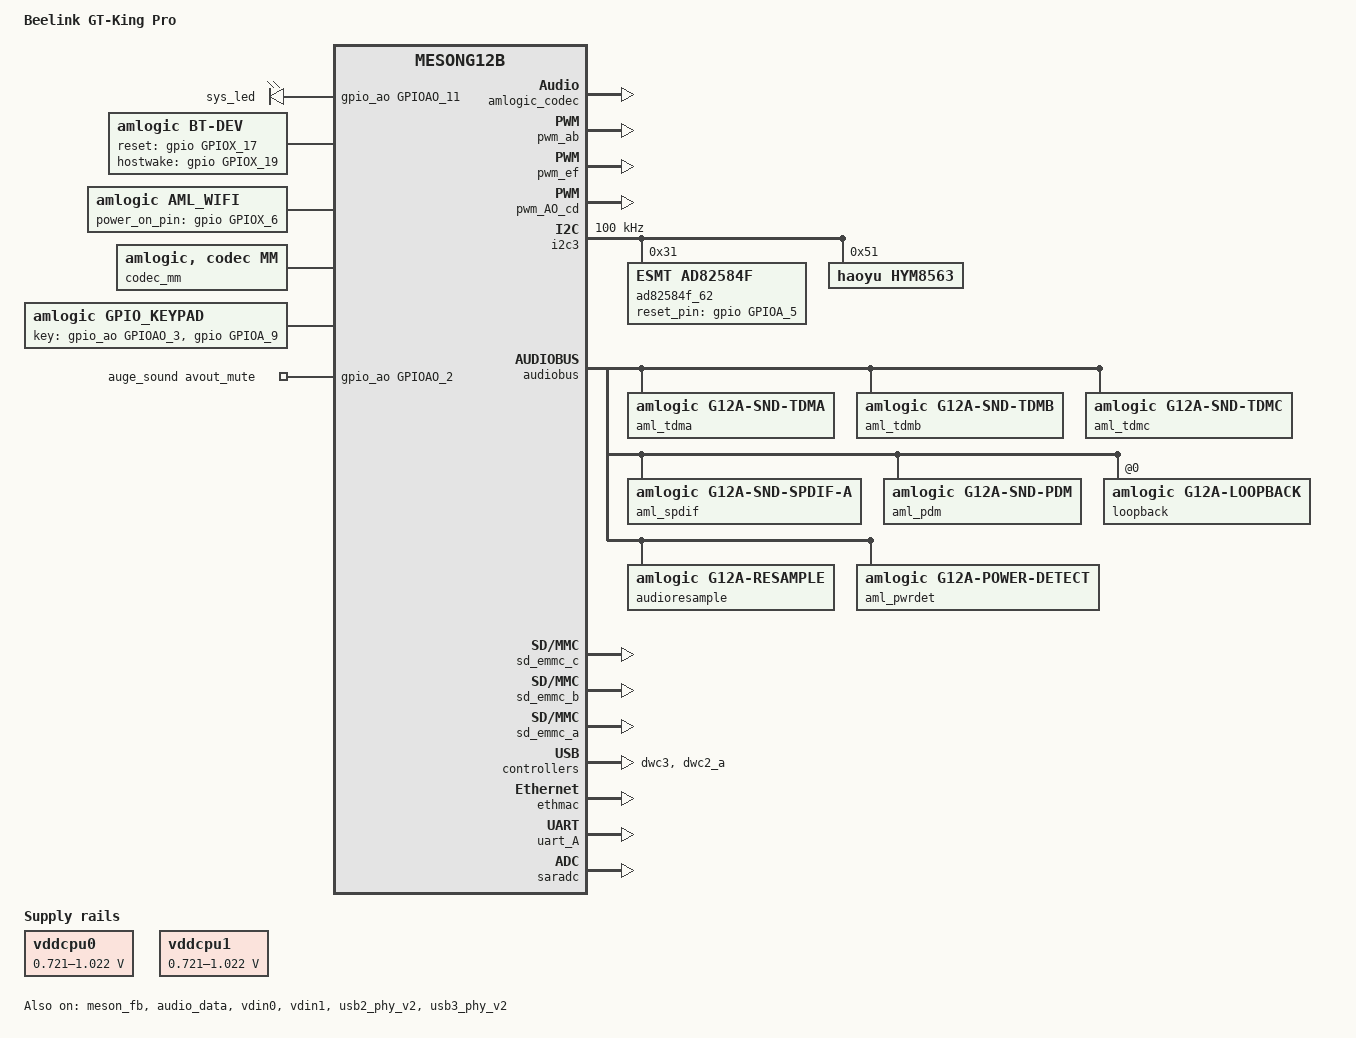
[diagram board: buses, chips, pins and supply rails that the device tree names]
/*
 * arch/arm64/boot/dts/amlogic/g12b_s922x_galilei.dts
 *
 * Beelink GT-King Pro ("galilei"): Amlogic S922X-H (G12B), 4 GB LPDDR4,
 * 64 GB eMMC, AP6398S (BCM4359C0) SDIO Wi-Fi + UART BT, RTL8211F RGMII
 * gigabit PHY, HYM8563 RTC on i2c3, IR receiver, white power LED.
 *
 * Based on g12b_a311d_w400.dts (Amlogic W400 reference board - the stock
 * Beelink firmware identifies itself as amlogic-dt-id "g12b_w400_b").
 * Board-specific values were taken from the stock DTB (kernel 4.9.113,
 * Beelink 20220401 firmware) and cross-checked with mainline
 * meson-g12b-gtking-pro.dts.
 *
 * Copyright (C) 2017 Amlogic, Inc. All rights reserved.
 *
 * This program is free software; you can redistribute it and/or modify
 * it under the terms of the GNU General Public License as published by
 * the Free Software Foundation; either version 2 of the License, or
 * (at your option) any later version.
 *
 * This program is distributed in the hope that it will be useful, but WITHOUT
 * ANY WARRANTY; without even the implied warranty of MERCHANTABILITY or
 * FITNESS FOR A PARTICULAR PURPOSE.  See the GNU General Public License for
 * more details.
 *
 */

/dts-v1/;

#include "partition_mbox_dynamic_galilei.dtsi"
#include "mesong12b.dtsi"
#include "mesong12b_skt-panel.dtsi"
#include <dt-bindings/thermal/thermal.h>

/ {
	model = "Beelink GT-King Pro";
	amlogic-dt-id = "g12b_s922x_galilei";
	compatible = "amlogic, g12b";
	interrupt-parent = <&gic>;
	#address-cells = <2>;
	#size-cells = <2>;

	aliases {
		serial0 = &uart_AO;
		serial1 = &uart_A;
		serial2 = &uart_B;
		serial3 = &uart_C;
		serial4 = &uart_AO_B;
		i2c0 = &i2c0;
		i2c1 = &i2c1;
		i2c2 = &i2c2;
		i2c3 = &i2c3;
		i2c4 = &i2c_AO;
		tsensor0 = &p_tsensor;
		tsensor1 = &d_tsensor;
	};

	memory@00000000 {
		device_type = "memory";
		/* 4 GB LPDDR4; u-boot fixes this up from the DDR size at boot.
		 * Value below is what the stock u-boot passes on this board. */
		linux,usable-memory = <0x0 0x000000 0x0 0xf0800000>;
	};

	reserved-memory {
		#address-cells = <2>;
		#size-cells = <2>;
		ranges;
		/* global autoconfigured region for contiguous allocations */
		ramoops@0x07400000 {
			compatible = "ramoops";
			reg = <0x0 0x07400000 0x0 0x00100000>;
			record-size = <0x20000>;
			console-size = <0x40000>;
			ftrace-size = <0x80000>;
			pmsg-size = <0x20000>;
		};

		/* stock firmware reserves 36 MB for secmon (BL31/BL32) */
		secmon_reserved:linux,secmon {
			compatible = "shared-dma-pool";
			reusable;
			size = <0x0 0x2400000>;
			alignment = <0x0 0x400000>;
			alloc-ranges = <0x0 0x05000000 0x0 0x2400000>;
			clear-map;
		};

		secos_reserved:linux,secos {
			status = "disable";
			compatible = "amlogic, aml_secos_memory";
			reg = <0x0 0x05300000 0x0 0x2000000>;
			no-map;
		};
		logo_reserved:linux,meson-fb {
			compatible = "shared-dma-pool";
			reusable;
			size = <0x0 0x800000>;
			alignment = <0x0 0x400000>;
			alloc-ranges = <0x0 0x7f800000 0x0 0x800000>;
		};
		ion_cma_reserved:linux,ion-dev {
			compatible = "shared-dma-pool";
			reusable;
			size = <0x0 0x8000000>;
			alignment = <0x0 0x400000>;
		};
		ion_fb_reserved:linux,ion-fb {
			compatible = "amlogic, ion-fb-mem";
			reusable;
			/* 1920x1080x6x3 round up 4M align */
			size = <0x0 0x3400000>;
			alignment = <0x0 0x400000>;
		};

		/*di CMA pool */
		di_cma_reserved:linux,di_cma {
			compatible = "shared-dma-pool";
			status = "disable";
			reusable;
			/* buffer_size = 3621952(yuv422 8bit)
			 *  | 4736064(yuv422 10bit)
			 *  | 4074560(yuv422 10bit full pack mode)
			 * 10x3621952=34.6M(0x23) support 8bit
			 * 10x4736064=45.2M(0x2e) support 12bit
			 * 10x4074560=40M(0x28) support 10bit
			 */
			//size = <0x0 0x02800000>;
			size = <0x0 0x0>;
			alignment = <0x0 0x400000>;
		};
		/*  POST PROCESS MANAGER */
		ppmgr_reserved:linux,ppmgr {
			compatible = "shared-dma-pool";
			size = <0x0 0x0>;
		};

		codec_mm_cma:linux,codec_mm_cma {
			compatible = "shared-dma-pool";
			reusable;
			/* ion_codec_mm max can alloc size 80M*/
			size = <0x0 0x13400000>;
			alignment = <0x0 0x400000>;
			linux,contiguous-region;
			clear-map;
		};
		/* codec shared reserved */
		codec_mm_reserved:linux,codec_mm_reserved {
			compatible = "amlogic, codec-mm-reserved";
			size = <0x0 0x0>;
			alignment = <0x0 0x100000>;
			//no-map;
		};
		/*  vdin1 CMA pool */
		vdin1_cma_reserved:linux,vdin1_cma {
			compatible = "shared-dma-pool";
			reusable;
			/* up to 1920x1080 yuv422 8bit and 5 buffers
			 * 1920x1080x2x5 = 20 M
			 */
			size = <0x0 0x01400000>;
			alignment = <0x0 0x400000>;
		};
	};

	cma_shrinker {
		compatible = "amlogic, cma-shrinker";
		status = "disabled";
		adj  = <0 100 200 250 900 950>;
		free = <8192 12288 16384 24576 28672 32768>;
	};

	/* S922X has no NPU (galcore) and no ISP; both are A311D/W400 only */
	galcore {
		status = "disabled";
	};

	gpioleds {
		compatible = "gpio-leds";
		status = "okay";
		/* white power LED on the front panel */
		sys_led {
			label="sys_led";
			gpios=<&gpio_ao GPIOAO_11 GPIO_ACTIVE_HIGH>;
			default-state ="on";
		};
	};

	cvbsout {
		compatible = "amlogic, cvbsout-g12b";
		dev_name = "cvbsout";
		status = "okay";
		clocks = <&clkc CLKID_VCLK2_ENCI
			&clkc CLKID_VCLK2_VENCI0
			&clkc CLKID_VCLK2_VENCI1
			&clkc CLKID_DAC_CLK>;
		clock-names = "venci_top_gate",
			"venci_0_gate",
			"venci_1_gate",
			"vdac_clk_gate";
		/* clk path */
		/* 0:vid_pll vid2_clk */
		/* 1:gp0_pll vid2_clk */
		/* 2:vid_pll vid1_clk */
		/* 3:gp0_pll vid1_clk */
		clk_path = <0>;

		/* performance: reg_address, reg_value */
		/* g12b */
		performance = <0x1bf0  0x9
			0x1b56  0x333
			0x1b12  0x8080
			0x1b05  0xfd
			0x1c59  0xf850
			0xffff  0x0>; /* ending flag */
		performance_sarft = <0x1bf0  0x9
			0x1b56  0x333
			0x1b12  0x0
			0x1b05  0x9
			0x1c59  0xfc48
			0xffff  0x0>; /* ending flag */
	};

	/* AP6398S Bluetooth (UART_A) */
	bt-dev{
		compatible = "amlogic, bt-dev";
		dev_name = "bt-dev";
		status = "okay";
		gpio_reset = <&gpio GPIOX_17 GPIO_ACTIVE_HIGH>;
		gpio_hostwake = <&gpio GPIOX_19 GPIO_ACTIVE_HIGH>;
	};

	/* AP6398S Wi-Fi (SDIO on sd_emmc_a) */
	wifi{
		compatible = "amlogic, aml_wifi";
		dev_name = "aml_wifi";
		status = "okay";
		interrupt_pin = <&gpio GPIOX_7 GPIO_ACTIVE_HIGH>;
		irq_trigger_type = "GPIO_IRQ_LOW";
		power_on_pin = <&gpio GPIOX_6 GPIO_ACTIVE_HIGH>;
		dhd_static_buf;	//if use bcm wifi, config dhd_static_buf
		pinctrl-names = "default";
		pinctrl-0 = <&pwm_e_pins>;
		pwm_config = <&wifi_pwm_conf>;
	};

	wifi_pwm_conf:wifi_pwm_conf{
		pwm_channel1_conf {
			pwms = <&pwm_ef MESON_PWM_0 30541 0>;
			duty-cycle = <15270>;
			times = <10>;
		};
		pwm_channel2_conf {
			pwms = <&pwm_ef MESON_PWM_2 30500 0>;
			duty-cycle = <15250>;
			times = <12>;
		};
	};

	picdec_cma_reserved:linux,picdec {
		compatible = "shared-dma-pool";
		reusable;
		size = <0x0>;
		alignment = <0x0>;
		linux,contiguous-region;
	};

	codec_mm {
		compatible = "amlogic, codec, mm";
		memory-region = <&codec_mm_cma &codec_mm_reserved>;
		dev_name = "codec_mm";
		status = "okay";
	};

	picdec {
		compatible = "amlogic, picdec";
		memory-region = <&picdec_cma_reserved>;
		dev_name = "picdec";
		status = "okay";
	};

	ppmgr {
		compatible = "amlogic, ppmgr";
		memory-region = <&ppmgr_reserved>;
		dev_name = "ppmgr";
		status = "okay";
	};

	multi-di {
		compatible = "amlogic, dim-g12b";
		status = "okay";
		/* 0:use reserved; 1:use cma; 2:use cma as reserved */
		/* 3:codec_a; 4:codec_b (di buffers come from codec_mm) */
		flag_cma = <4>;	//<1>;
		//memory-region = <&di_reserved>;
		memory-region = <&di_cma_reserved>;
		interrupts = <0 46 1
				0 40 1>;
		interrupt-names = "pre_irq", "post_irq";
		clocks = <&clkc CLKID_VPU_CLKB_TMP_COMP>,
			<&clkc CLKID_VPU_CLKB_COMP>;
		clock-names = "vpu_clkb_tmp_composite",
			"vpu_clkb_composite";
		clock-range = <334 667>;
		/* buffer-size = <3621952>;(yuv422 8bit) */
		buffer-size = <4074560>;/*yuv422 fullpack*/
		/* reserve-iomap = "true"; */
		/* if enable nr10bit, set nr10bit-support to 1 */
		post-wr-support = <1>;
		nr10bit-support = <1>;
		nrds-enable = <1>;
		pps-enable = <1>;
	};
	deinterlace {
		compatible = "amlogic, deinterlace";
		status = "disable";//status = "okay";
		/* 0:use reserved; 1:use cma; 2:use cma as reserved */
		flag_cma = <1>;
		//memory-region = <&di_reserved>;
		memory-region = <&di_cma_reserved>;
		interrupts = <0 46 1
				0 40 1>;
		interrupt-names = "pre_irq", "post_irq";
		clocks = <&clkc CLKID_VPU_CLKB_TMP_COMP>,
			<&clkc CLKID_VPU_CLKB_COMP>;
		clock-names = "vpu_clkb_tmp_composite",
			"vpu_clkb_composite";
		clock-range = <334 667>;
		/* buffer-size = <3621952>;(yuv422 8bit) */
		buffer-size = <4074560>;/*yuv422 fullpack*/
		/* reserve-iomap = "true"; */
		/* if enable nr10bit, set nr10bit-support to 1 */
		post-wr-support = <1>;
		nr10bit-support = <1>;
		nrds-enable = <1>;
		pps-enable = <1>;
	};
	ionvideo {
		compatible = "amlogic, ionvideo";
		dev_name = "ionvideo";
		status = "okay";
	};

	amlvideo2_0 {
		compatible = "amlogic, amlvideo2";
		dev_name = "amlvideo2";
		status = "okay";
		amlvideo2_id = <0>;
		cma_mode = <1>;
	};

	amlvideo2_1 {
		compatible = "amlogic, amlvideo2";
		dev_name = "amlvideo2";
		status = "okay";
		amlvideo2_id = <1>;
		cma_mode = <1>;
	};

	/* front panel power button (GPIOAO_3) and the audio-mode switch
	 * button (GPIOA_9), both as in the stock firmware */
	gpio_keypad {
		compatible = "amlogic, gpio_keypad";
		status = "okay";
		scan_period = <20>;
		key_num = <2>;
		key_name = "power", "switch_audio";
		key_code = <116 319>;
		key-gpios = <&gpio_ao GPIOAO_3 GPIO_ACTIVE_HIGH
			     &gpio GPIOA_9 GPIO_ACTIVE_HIGH>;
		detect_mode = <0>;/*0:polling mode, 1:irq mode*/
	};

	/* no ADC keys on this box (W400 reference board leftover) */
	adc_keypad {
		compatible = "amlogic, adc_keypad";
		status = "disabled";
		key_name = "vol-", "vol+", "enter";
		key_num = <3>;
		io-channels = <&saradc SARADC_CH2>;
		io-channel-names = "key-chan-2";
		key_chan = <SARADC_CH2 SARADC_CH2 SARADC_CH2>;
		key_code = <114 115 28>;
		key_val = <143 266 389>; //val=voltage/1800mV*1023
		key_tolerance = <40 40 40>;
	};

	unifykey{
		compatible = "amlogic, unifykey";
		status = "ok";
		unifykey-num = <17>;
		unifykey-index-0 = <&keysn_0>;
		unifykey-index-1 = <&keysn_1>;
		unifykey-index-2 = <&keysn_2>;
		unifykey-index-3 = <&keysn_3>;
		unifykey-index-4 = <&keysn_4>;
		unifykey-index-5 = <&keysn_5>;
		unifykey-index-6 = <&keysn_6>;
		unifykey-index-7 = <&keysn_7>;
		unifykey-index-8 = <&keysn_8>;
		unifykey-index-9 = <&keysn_9>;
		unifykey-index-10= <&keysn_10>;
		unifykey-index-11= <&keysn_11>;
		unifykey-index-12= <&keysn_12>;
		unifykey-index-13= <&keysn_13>;
		unifykey-index-14= <&keysn_14>;
		unifykey-index-15= <&keysn_15>;
		unifykey-index-16= <&keysn_16>;

		keysn_0: key_0{
			key-name = "usid";
			key-device = "normal";
			key-permit = "read","write","del";
		};
		keysn_1:key_1{
			key-name = "mac";
			key-device = "normal";
			key-permit = "read","write","del";
		};
		keysn_2:key_2{
			key-name = "hdcp";
			key-device = "secure";
			key-type = "sha1";
			key-permit = "read","write","del";
		};
		keysn_3:key_3{
			key-name = "secure_boot_set";
			key-device = "efuse";
			key-permit = "write";
		};
		keysn_4:key_4{
			key-name = "mac_bt";
			key-device = "normal";
			key-permit = "read","write","del";
			key-type  = "mac";
		};
		keysn_5:key_5{
			key-name = "mac_wifi";
			key-device = "normal";
			key-permit = "read","write","del";
			key-type = "mac";
		};
		keysn_6:key_6{
			key-name = "hdcp2_tx";
			key-device = "normal";
			key-permit = "read","write","del";
		};
		keysn_7:key_7{
			key-name = "hdcp2_rx";
			key-device = "normal";
			key-permit = "read","write","del";
		};
		keysn_8:key_8{
			key-name = "widevinekeybox";
			key-device = "secure";
			key-permit = "read","write","del";
		};
		keysn_9:key_9{
			key-name = "deviceid";
			key-device = "normal";
			key-permit = "read","write","del";
		};
		keysn_10:key_10{
			key-name = "hdcp22_fw_private";
			key-device = "secure";
			key-permit = "read","write","del";
		};
		keysn_11:key_11{
			key-name = "PlayReadykeybox25";
			key-device = "secure";
			key-permit = "read","write","del";
		};
		keysn_12:key_12{
			key-name = "prpubkeybox";// PlayReady
			key-device = "secure";
			key-permit = "read","write","del";
		};
		keysn_13:key_13{
			key-name = "prprivkeybox";// PlayReady
			key-device = "secure";
			key-permit = "read","write","del";
		};
		keysn_14:key_14{
			key-name = "attestationkeybox";// attestation key
			key-device = "secure";
			key-permit = "read","write","del";
		};
		keysn_15:key_15{
			key-name = "netflix_mgkid";
			key-device = "secure";
			key-permit = "read","write","del";
		};
		keysn_16:key_16{
			key-name = "attestationdevidbox";// attest dev id box
			key-device = "secure";
			key-permit = "read","write","del";
		};
	};//End unifykey

	efusekey:efusekey{
		keynum = <4>;
		key0 = <&key_0>;
		key1 = <&key_1>;
		key2 = <&key_2>;
		key3 = <&key_3>;
		key_0:key_0{
			keyname = "mac";
			offset = <0>;
			size = <6>;
		};
		key_1:key_1{
			keyname = "mac_bt";
			offset = <6>;
			size = <6>;
		};
		key_2:key_2{
			keyname = "mac_wifi";
			offset = <12>;
			size = <6>;
		};
		key_3:key_3{
			keyname = "usid";
			offset = <18>;
			size = <16>;
		};
	};//End efusekey

	amlvecm {
		compatible = "amlogic, vecm";
		dev_name = "aml_vecm";
		status = "okay";
		gamma_en = <0>;/*1:enabel ;0:disable*/
		wb_en = <0>;/*1:enabel ;0:disable*/
		cm_en = <0>;/*1:enabel ;0:disable*/

		interrupts = <0 56 1>;
		interrupt-names = "vsync2";
	};
	amdolby_vision {
		compatible = "amlogic, dolby_vision_g12a";
		dev_name = "aml_amdolby_vision_driver";
		status = "okay";
		tv_mode = <0>;/*1:enabel ;0:disable*/
	};

	/* Audio Related start */
	pdm_codec:dummy{
		#sound-dai-cells = <0>;
		compatible = "amlogic, pdm_dummy_codec";
		status = "okay";
	};
	dummy_codec:dummy{
		#sound-dai-cells = <0>;
		compatible = "amlogic, aml_dummy_codec";
		status = "okay";
	};
	amlogic_codec:t9015{
		#sound-dai-cells = <0>;
		compatible = "amlogic, aml_codec_T9015";
		reg = <0x0 0xFF632000 0x0 0x2000>;
		is_auge_used = <1>; /* meson or auge chipset used */
		tdmout_index = <1>;
		status = "okay";
	};
	audio_effect:eqdrc{
		/*eq_enable = <1>;*/
		/*drc_enable = <1>;*/
		/*
		 * 0:tdmout_a
		 * 1:tdmout_b
		 * 2:tdmout_c
		 * 3:spdifout
		 * 4:spdifout_b
		 */
		eqdrc_module = <1>;
		/* max 0xf, each bit for one lane, usually one lane */
		lane_mask = <0x1>;
		/* max 0xff, each bit for one channel */
		channel_mask = <0x3>;
	};
	auge_sound {
		compatible = "amlogic, g12a-sound-card";
		aml-audio-card,name = "AML-AUGESOUND";


		//aml-audio-card,aux-devs = <&amlogic_codec>;
		/*avout mute gpio*/
		avout_mute-gpios = <&gpio_ao GPIOAO_2 GPIO_ACTIVE_HIGH>;
		/*for audio effect ,eqdrc */
		aml-audio-card,effect = <&audio_effect>;

		aml-audio-card,dai-link@0 {
			format = "dsp_a";
			mclk-fs = <512>;
			//continuous-clock;
			//bitclock-inversion;
			//frame-inversion;
			//bitclock-master = <&tdmacodec>;
			//frame-master = <&tdmacodec>;
			/* suffix-name, sync with android audio hal
			 * what's the dai link used for
			 */
			suffix-name = "alsaPORT-pcm";
			tdmacpu: cpu {
				sound-dai = <&aml_tdma>;
				dai-tdm-slot-tx-mask =
							<1 0 0 0 0 0 0 0>;
				dai-tdm-slot-rx-mask =
							<1 0 0 0 0 0 0 0>;
				dai-tdm-slot-num = <8>;
				dai-tdm-slot-width = <32>;
				system-clock-frequency = <24576000>;
			};
			tdmacodec: codec {
				sound-dai = <&pdm_codec &dummy_codec>;
			};
		};

		/* I2S -> HDMI (tdmout_b) */
		aml-audio-card,dai-link@1 {
			format = "i2s";
			mclk-fs = <256>;
			//continuous-clock;
			//bitclock-inversion;
			//frame-inversion;
			bitclock-master = <&aml_tdmb>;
			frame-master = <&aml_tdmb>;
			//bitclock-master = <&tdmbcodec>;
			//frame-master = <&tdmbcodec>;
			/* suffix-name, sync with android audio hal
			 * what's the dai link used for
			 */
			suffix-name = "alsaPORT-i2s";
			cpu {
				sound-dai = <&aml_tdmb>;
				dai-tdm-slot-tx-mask = <1 1>;
				dai-tdm-slot-rx-mask = <1 1>;
				dai-tdm-slot-num = <2>;
				dai-tdm-slot-width = <32>;
				system-clock-frequency = <12288000>;
			};
			tdmbcodec: codec {
				sound-dai = <&pdm_codec &dummy_codec
				&amlogic_codec &ad82584f_62>;
			};
		};

		aml-audio-card,dai-link@2 {
			format = "i2s";
			mclk-fs = <256>;
			//continuous-clock;
			//bitclock-inversion;
			//frame-inversion;
			bitclock-master = <&aml_tdmc>;
			frame-master = <&aml_tdmc>;
			/* suffix-name, sync with android audio hal
			 * what's the dai link used for
			 */
			//suffix-name = "alsaPORT-tdm";
			cpu {
				sound-dai = <&aml_tdmc>;
				dai-tdm-slot-tx-mask = <1 1>;
				dai-tdm-slot-rx-mask = <1 1>;
				dai-tdm-slot-num = <2>;
				dai-tdm-slot-width = <32>;
				system-clock-frequency = <12288000>;
			};
			codec {
				sound-dai = <&pdm_codec &dummy_codec>;
			};
		};

		aml-audio-card,dai-link@3 {
			mclk-fs = <64>;
			/* suffix-name, sync with android audio hal
			 * what's the dai link used for
			 */
			suffix-name = "alsaPORT-pdm";
			cpu {
				sound-dai = <&aml_pdm>;
			};
			codec {
				sound-dai = <&pdm_codec>;
			};
		};

		/* optical S/PDIF output */
		aml-audio-card,dai-link@4 {
			mclk-fs = <128>;
			continuous-clock;
			/* suffix-name, sync with android audio hal
			 * what's the dai link used for
			 */
			suffix-name = "alsaPORT-spdif";
			cpu {
				sound-dai = <&aml_spdif>;
				system-clock-frequency = <6144000>;
			};
			codec {
				sound-dai = <&dummy_codec>;
			};
		};

		aml-audio-card,dai-link@6 {
			mclk-fs = <256>;
			continuous-clock;
			suffix-name = "alsaPORT-loopback";
			cpu {
				sound-dai = <&loopback>;
				system-clock-frequency = <12288000>;
			};
			codec {
				sound-dai = <&dummy_codec>;
			};
		};
	};
	audiolocker: locker {
		compatible = "amlogic, audiolocker";
		clocks = <&clkaudio CLKID_AUDIO_LOCKER_OUT
				&clkaudio CLKID_AUDIO_LOCKER_IN
				&clkaudio CLKID_AUDIO_MCLK_D
				&clkaudio CLKID_AUDIO_MCLK_E
				&clkc CLKID_MPLL1
				&clkc CLKID_MPLL2>;
		clock-names = "lock_out", "lock_in", "out_src",
					"in_src", "out_calc", "in_ref";
		interrupts = <GIC_SPI 1 IRQ_TYPE_EDGE_RISING>;
		interrupt-names = "irq";
		frequency = <49000000>; /* pll */
		dividor = <49>; /* locker's parent */
		status = "okay";
	};
	/* Audio Related end */

	/* S922X-H operating points, copied from the stock Beelink DTB.
	 * table0 = 2x Cortex-A53 (up to 1.8 GHz), table1 = 4x Cortex-A73
	 * (up to 2.208 GHz). */
	cpu_opp_table0: cpu_opp_table0 {
		compatible = "operating-points-v2";
		opp-shared;

		opp00 {
			opp-hz = /bits/ 64 <500000000>;
			opp-microvolt = <731000>;
		};
		opp01 {
			opp-hz = /bits/ 64 <667000000>;
			opp-microvolt = <731000>;
		};
		opp02 {
			opp-hz = /bits/ 64 <1000000000>;
			opp-microvolt = <761000>;
		};
		opp03 {
			opp-hz = /bits/ 64 <1200000000>;
			opp-microvolt = <781000>;
		};
		opp04 {
			opp-hz = /bits/ 64 <1398000000>;
			opp-microvolt = <811000>;
		};
		opp05 {
			opp-hz = /bits/ 64 <1512000000>;
			opp-microvolt = <861000>;
		};
		opp06 {
			opp-hz = /bits/ 64 <1608000000>;
			opp-microvolt = <901000>;
		};
		opp07 {
			opp-hz = /bits/ 64 <1704000000>;
			opp-microvolt = <951000>;
		};
		opp08 {
			opp-hz = /bits/ 64 <1800000000>;
			opp-microvolt = <1001000>;
		};
	};

	cpu_opp_table1: cpu_opp_table1 {
		compatible = "operating-points-v2";
		opp-shared;

		opp00 {
			opp-hz = /bits/ 64 <500000000>;
			opp-microvolt = <731000>;
		};
		opp01 {
			opp-hz = /bits/ 64 <667000000>;
			opp-microvolt = <731000>;
		};
		opp02 {
			opp-hz = /bits/ 64 <1000000000>;
			opp-microvolt = <731000>;
		};
		opp03 {
			opp-hz = /bits/ 64 <1200000000>;
			opp-microvolt = <751000>;
		};
		opp04 {
			opp-hz = /bits/ 64 <1398000000>;
			opp-microvolt = <771000>;
		};
		opp05 {
			opp-hz = /bits/ 64 <1512000000>;
			opp-microvolt = <771000>;
		};
		opp06 {
			opp-hz = /bits/ 64 <1608000000>;
			opp-microvolt = <781000>;
		};
		opp07 {
			opp-hz = /bits/ 64 <1704000000>;
			opp-microvolt = <791000>;
		};
		opp08 {
			opp-hz = /bits/ 64 <1800000000>;
			opp-microvolt = <831000>;
		};
		opp09 {
			opp-hz = /bits/ 64 <1908000000>;
			opp-microvolt = <861000>;
		};
		opp10 {
			opp-hz = /bits/ 64 <2016000000>;
			opp-microvolt = <911000>;
		};
		opp11 {
			opp-hz = /bits/ 64 <2100000000>;
			opp-microvolt = <951000>;
		};
		opp12 {
			opp-hz = /bits/ 64 <2208000000>;
			opp-microvolt = <1011000>;
		};
	};

	cpufreq-meson {
		compatible = "amlogic, cpufreq-meson";
		status = "okay";
	};
}; /* end of / */

/* no camera / ISP on this box */
&i2c2 {
	status = "disabled";
};

&isp {
	status = "disabled";
};

&adapter {
	status = "disabled";
};

&meson_fb {
	status = "okay";
	display_mode_default = "1080p60hz";
	scale_mode = <1>;
	display_size_default = <1920 1080 1920 2160 32>; /* 1080p double buffer */
	mem_size = <0x00800000 0x1980000 0x100000 0x100000 0x800000>;
	logo_addr = "0x7f800000";
	mem_alloc = <0>;
	pxp_mode = <0>; /** 0:normal mode 1:pxp mode */
};

&pwm_ab {
		status = "okay";
};

&pwm_ef {
		status = "okay";
};

/* PWM_AO_A drives the fan on the W400 reference board; no fan here */
&pwm_AO_ab {
		status = "disabled";
};

&pwm_AO_cd {
		status = "okay";
};

&i2c0 {
	status = "disabled";
};

&i2c3 {
	status = "okay";
	pinctrl-names="default";
	pinctrl-0=<&i2c3_master_pins2>;
	clock-frequency = <100000>; /* default 100k */

	/* present in the stock DTB (W400 reference audio amplifier);
	 * kept so the auge sound card codec list matches stock */
	ad82584f_62: ad82584f_62@62 {
		compatible = "ESMT, ad82584f";
		#sound-dai-cells = <0>;
		reg = <0x31>;
		status = "okay";
		reset_pin = <&gpio GPIOA_5 0>;
		no_mclk;
	};

	/* real time clock (battery backed) */
	hym8563: hym8563@51 {
		compatible = "haoyu,hym8563";
		reg = <0x51>;
		#clock-cells = <0>;
		status = "okay";
	};
};

&audiobus {
	aml_tdma: tdma {
		status = "okay";
		compatible = "amlogic, g12a-snd-tdma";
		#sound-dai-cells = <0>;
		dai-tdm-lane-slot-mask-in = <0 1>;
		dai-tdm-lane-oe-slot-mask-out = <1 0>;
		dai-tdm-clk-sel = <0>;
		clocks = <&clkaudio CLKID_AUDIO_MCLK_A
				&clkc CLKID_MPLL0>;
		clock-names = "mclk", "clk_srcpll";
		pinctrl-names = "tdm_pins";
		pinctrl-0 = <&tdmout_a &tdmin_a>;
	};

	aml_tdmb: tdmb {
		status = "okay";
		compatible = "amlogic, g12a-snd-tdmb";
		#sound-dai-cells = <0>;
		dai-tdm-lane-slot-mask-in = <0 1 0 0>;
		dai-tdm-lane-slot-mask-out = <1 0 0 0>;
		dai-tdm-clk-sel = <1>;
		clocks = <&clkaudio CLKID_AUDIO_MCLK_B
				&clkc CLKID_MPLL1
				&clkc CLKID_MPLL0
				&clkaudio CLKID_AUDIO_SPDIFOUT_CTRL>;
		clock-names = "mclk", "clk_srcpll",
			"samesource_srcpll", "samesource_clk";
		pinctrl-names = "tdm_pins";
		pinctrl-0 = <&tdmb_mclk &tdmout_b &tdmin_b>;
		mclk_pad = <0>;  /* 0: mclk_0; 1: mclk_1 */
		/*
		 * 0: tdmout_a;
		 * 1: tdmout_b;
		 * 2: tdmout_c;
		 * 3: spdifout;
		 * 4: spdifout_b;
		 */
		samesource_sel = <3>;
	};

	aml_tdmc: tdmc {
		status = "okay";	/* 2026-09-24: the LOS aml_card driver needs every dai-link CPU DAI registered
					 * (dai-link@2 = tdmc), a disabled tdmc = "error getting cpu dai name" = no sound card at all.
					 * TDM C pads are unused on the GT-King (stock keeps tdmc disabled): no pinctrl here. */
		compatible = "amlogic, g12a-snd-tdmc";
		#sound-dai-cells = <0>;
		dai-tdm-lane-slot-mask-in = <1 0 0 0>;
		#dai-tdm-lane-slot-mask-out = <1 0 1 1>;
		#dai-tdm-lane-oe-slot-mask-in = <0 0 0 0>;
		#dai-tdm-lane-oe-slot-mask-out = <1 0 0 0>;
		dai-tdm-clk-sel = <2>;
		clocks = <&clkaudio CLKID_AUDIO_MCLK_C
				&clkc CLKID_MPLL2>;
		clock-names = "mclk", "clk_srcpll";
		/* no pinctrl: DAI only, pads free */
		mclk_pad = <1>;  /* 0: mclk_0; 1: mclk_1 */
	};

	tdmlb: tdm@3 {
		compatible = "amlogic, g12a-snd-tdmlb";
		#sound-dai-cells = <0>;
		dai-tdm-lane-lb-slot-mask-in = <1 0 0 0>;
		dai-tdm-clk-sel = <1>;
		clocks = <&clkaudio CLKID_AUDIO_MCLK_B
				&clkc CLKID_MPLL1>;
		clock-names = "mclk", "clk_srcpll";
		/*
		 * select tdmin_lb src;
		 *0: TDMOUTA
		 *1: TDMOUTB
		 *2: TDMOUTC
		 *3: PAD_TDMINA
		 *4: PAD_TDMINB
		 *5: PAD_TDMINC
		 */
		lb-src-sel = <1>;

		status = "disabled";	/* as stock; its pin lookup fails on this board (aml_tdm_get_pins error) */
	};

	/* optical S/PDIF out on GPIOAO_10 (enabled in the stock DTB) */
	aml_spdif: spdif {
		compatible = "amlogic, g12a-snd-spdif-a";
		#sound-dai-cells = <0>;
		clocks = <&clkc CLKID_MPLL0
				&clkc CLKID_FCLK_DIV4
				&clkaudio CLKID_AUDIO_SPDIFIN
				&clkaudio CLKID_AUDIO_SPDIFOUT
				&clkaudio CLKID_AUDIO_SPDIFIN_CTRL
				&clkaudio CLKID_AUDIO_SPDIFOUT_CTRL>;
		clock-names = "sysclk", "fixed_clk", "gate_spdifin",
				"gate_spdifout", "clk_spdifin", "clk_spdifout";
		interrupts =
				<GIC_SPI 151 IRQ_TYPE_EDGE_RISING>;

		interrupt-names = "irq_spdifin";
		pinctrl-names = "spdif_pins",
					"spdif_pins_mute";
		pinctrl-0 = <&spdifout &spdifin>;
		pinctrl-1 = <&spdifout_a_mute>;
		status = "okay";
	};
	aml_spdif_b: spdif_b {
		compatible = "amlogic, g12a-snd-spdif-b";
		#sound-dai-cells = <0>;
		clocks = <&clkc CLKID_MPLL0 /*CLKID_HIFI_PLL*/
				&clkaudio CLKID_AUDIO_SPDIFOUTB
				&clkaudio CLKID_AUDIO_SPDIFOUTB_CTRL>;
		clock-names = "sysclk",
				"gate_spdifout", "clk_spdifout";
		status = "disabled";
	};
	aml_pdm: pdm {
		compatible = "amlogic, g12a-snd-pdm";
		#sound-dai-cells = <0>;
		clocks = <&clkaudio CLKID_AUDIO_PDM
			&clkc CLKID_FCLK_DIV3
			&clkc CLKID_MPLL3
			&clkaudio CLKID_AUDIO_PDMIN0
			&clkaudio CLKID_AUDIO_PDMIN1>;
		clock-names = "gate",
			"sysclk_srcpll",
			"dclk_srcpll",
			"pdm_dclk",
			"pdm_sysclk";
		pinctrl-names = "pdm_pins";
		pinctrl-0 = <&pdmin>;
		filter_mode = <1>; /* mode 0~4, defalut:1 */
		status = "okay";
	};

	loopback:loopback@0 {
		compatible = "amlogic, g12a-loopback";
		#sound-dai-cells = <0>;

		clocks = <&clkaudio CLKID_AUDIO_PDM
			&clkc CLKID_FCLK_DIV3
			&clkc CLKID_MPLL3
			&clkaudio CLKID_AUDIO_PDMIN0
			&clkaudio CLKID_AUDIO_PDMIN1
			&clkc CLKID_MPLL0
			&clkaudio CLKID_AUDIO_MCLK_A>;
		clock-names = "pdm_gate",
			"pdm_sysclk_srcpll",
			"pdm_dclk_srcpll",
			"pdm_dclk",
			"pdm_sysclk",
			"tdminlb_mpll",
			"tdminlb_mclk";

		/* datain src
		 * 0: tdmin_a;
		 * 1: tdmin_b;
		 * 2: tdmin_c;
		 * 3: spdifin;
		 * 4: pdmin;
		 */
		datain_src = <4>;
		datain_chnum = <4>;
		datain_chmask = <0xf>;
		/* config which data pin for loopback */
		datain-lane-mask-in = <1 0 1 0>;

		/* calc mclk for datalb */
		mclk-fs = <256>;

		/* tdmin_lb src
		 * 0: tdmoutA
		 * 1: tdmoutB
		 * 2: tdmoutC
		 * 3: PAD_TDMINA_DIN*, refer to core pinmux
		 * 4: PAD_TDMINB_DIN*, refer to core pinmux
		 * 5: PAD_TDMINC_DIN*, refer to core pinmux
		 * 6: PAD_TDMINA_D*, oe, refer to core pinmux
		 * 7: PAD_TDMINB_D*, oe, refer to core pinmux
		 */
		/* if tdmin_lb >= 3, use external loopback */
		datalb_src = <1>;
		datalb_chnum = <2>;
		datalb_chmask = <0x3>;
		/* config which data pin as loopback */
		datalb-lane-mask-in = <1 0 0 0>;

		status = "disabled";
	};

	audioresample: resample {
		compatible = "amlogic, g12a-resample";
		clocks = <&clkc CLKID_MPLL3
				&clkaudio CLKID_AUDIO_MCLK_F
				&clkaudio CLKID_AUDIO_RESAMPLE_CTRL>;
		clock-names = "resample_pll", "resample_src", "resample_clk";
		/*same with toddr_src
		 *	TDMIN_A, 0
		 *	TDMIN_B, 1
		 *	TDMIN_C, 2
		 *	SPDIFIN, 3
		 *	PDMIN,  4
		 *	NONE,
		 *	TDMIN_LB, 6
		 *	LOOPBACK, 7
		 */
		resample_module = <4>;
		status = "okay";
	};
	aml_pwrdet: pwrdet {
		compatible = "amlogic, g12a-power-detect";

		interrupts = <GIC_SPI 155 IRQ_TYPE_EDGE_RISING>;
		interrupt-names = "pwrdet_irq";

		/* pwrdet source sel
		 * 7: loopback;
		 * 6: tdmin_lb;
		 * 5: reserved;
		 * 4: pdmin;
		 * 3: spdifin;
		 * 2: tdmin_c;
		 * 1: tdmin_b;
		 * 0: tdmin_a;
		 */
		pwrdet_src = <4>;

		hi_th = <0x70000>;
		lo_th = <0x16000>;

		status = "okay";
	};
}; /* end of audiobus */

&pinctrl_periphs {
	tdmout_a: tdmout_a {
		mux { /* GPIOX_11, GPIOX_10, GPIOX_9 */
			groups = "tdma_sclk",
				"tdma_fs",
				"tdma_dout0";
			function = "tdma_out";
		};
	};

	tdmin_a: tdmin_a {
		mux { /* GPIOX_8 */
			groups = "tdma_din1";
			function = "tdma_in";
		};
	};

	tdmb_mclk: tdmb_mclk {
		mux {
			groups = "mclk0_a";
			function = "mclk0";
			drive-strength = <2>;
		};
	};
	tdmout_b: tdmout_b {
		mux { /* GPIOA_1, GPIOA_2, GPIOA_3 */
			groups = "tdmb_sclk",
				"tdmb_fs",
				"tdmb_dout0";
			function = "tdmb_out";
			drive-strength = <2>;
		};
	};

	tdmin_b:tdmin_b {
		mux { /* GPIOA_4 */
			groups = "tdmb_din1"
				/*,"tdmb_slv_sclk", "tdmb_slv_fs"*/;
			function = "tdmb_in";
			drive-strength = <2>;
		};
	};

	tdmc_mclk: tdmc_mclk {
		mux { /* GPIOA_11 */
			groups = "mclk1_a";
			function = "mclk1";
		};
	};

	tdmout_c:tdmout_c {
		mux { /* GPIOA_12, GPIOA_13, GPIOA_8, GPIOA_7*/
			groups = "tdmc_sclk_a",
				"tdmc_fs_a",
				"tdmc_dout0_a"
				/*,	"tdmc_dout2",
				 * "tdmc_dout3"
				 */;
			function = "tdmc_out";
		};
	};

	tdmin_c:tdmin_c {
		mux { /* GPIOA_10 */
			groups = "tdmc_din0_a";
			function = "tdmc_in";
		};
	};

	spdifin: spdifin {
		mux {/* GPIOH_5 */
			groups = "spdif_in_h";
			function = "spdif_in";
		};
	};

	/* GPIOH_4 */
	/*
	 * spdifout: spdifout {
	 *	mux {
	 *		groups = "spdif_out_h";
	 *		function = "spdif_out";
	 *	};
	 *};
	 */

	pdmin: pdmin {
		mux { /* gpioa_5, gpioa_6, gpioa_7, gpioa_8, gpioa_9*/
			groups = "pdm_din0_a",
			/*"pdm_din1_a",*/
			"pdm_din2_a",
			/*"pdm_din3_a",*/
			"pdm_dclk_a";
			function = "pdm";
		};
	};
}; /* end of pinctrl_periphs */

&pinctrl_aobus {
	spdifout: spdifout {
		mux { /* gpiao_10 */
			groups = "spdif_out_ao";
			function = "spdif_out_ao";
		};
	};

	spdifout_a_mute: spdifout_a_mute {
		mux { /* gpiao_10 */
			groups = "GPIOAO_10";
			function = "gpio_aobus";
		};
	};
};  /* end of pinctrl_aobus */

&irblaster {
	status = "disabled";
};

&audio_data {
	status = "okay";
};

/*if you want to use vdin just modify status to "ok"*/
&vdin0 {
	/*memory-region = <&vdin0_cma_reserved>;*/
	status = "okay";
	/* up to 1920x1080 yuv422 8bit and 5 buffers
	 * 1920x1080x2x5 = 20 M
	 */
	cma_size = <20>;
	/*vdin write mem color depth support:
	 *bit0:support 8bit
	 *bit1:support 9bit
	 *bit2:support 10bit
	 *bit3:support 12bit
	 *bit4:support yuv422 10bit full pack mode (from txl new add)
	 */
	tv_bit_mode = <0x1>;
};
&vdin1 {
	memory-region = <&vdin1_cma_reserved>;
	status = "okay";
	/*vdin write mem color depth support:
	 *bit0:support 8bit
	 *bit1:support 9bit
	 *bit2:support 10bit
	 *bit3:support 12bit
	 */
	tv_bit_mode = <1>;
};

/* eMMC: stock firmware runs it at HS200 only (no HS400) */
&sd_emmc_c {
	status = "okay";
	emmc {
		caps = "MMC_CAP_8_BIT_DATA",
			 "MMC_CAP_MMC_HIGHSPEED",
			 "MMC_CAP_SD_HIGHSPEED",
			 "MMC_CAP_NONREMOVABLE",
			/* "MMC_CAP_1_8V_DDR", */
			 "MMC_CAP_HW_RESET",
			 "MMC_CAP_ERASE",
			 "MMC_CAP_CMD23",
			 "MMC_CAP_DRIVER_TYPE_A";
		caps2 = "MMC_CAP2_HS200";
		f_min = <400000>;
		f_max = <200000000>;
	};
};

/* microSD slot */
&sd_emmc_b {
	status = "okay";
	sd {
		caps = "MMC_CAP_4_BIT_DATA",
			 "MMC_CAP_MMC_HIGHSPEED",
			 "MMC_CAP_SD_HIGHSPEED";
		f_min = <400000>;
		f_max = <50000000>;
	};
};

/* SDIO Wi-Fi */
&sd_emmc_a {
	status = "okay";
	sdio {
		caps = "MMC_CAP_4_BIT_DATA",
			 "MMC_CAP_MMC_HIGHSPEED",
			 "MMC_CAP_SD_HIGHSPEED",
			 "MMC_CAP_NONREMOVABLE",
			 "MMC_CAP_UHS_SDR12",
			 "MMC_CAP_UHS_SDR25",
			 "MMC_CAP_UHS_SDR50",
			 "MMC_CAP_UHS_SDR104",
			 "MMC_PM_KEEP_POWER",
			 "MMC_CAP_SDIO_IRQ";
		f_min = <400000>;
		f_max = <200000000>;
	};
};

&nand {
	status = "disabled";
};

&dwc3 {
	status = "okay";
};

&usb2_phy_v2 {
	status = "okay";
	portnum = <2>;
};

&usb3_phy_v2 {
	status = "okay";
	portnum = <1>;
	otg = <1>;
	gpio-vbus-power = "GPIOH_6";
	gpios = <&gpio GPIOH_6 GPIO_ACTIVE_HIGH>;
};

/* USB 2.0 port on the rear = OTG (device mode with otg_device=1) */
&dwc2_a {
	status = "okay";
	/** 0: normal, 1: otg+dwc3 host only, 2: otg+dwc3 device only*/
	controller-type = <3>;
};

/* Gigabit ethernet: external RTL8211F PHY on RGMII (values from stock DTB) */
&ethmac {
	/* 2026-09-24 bring-up findings:
	 *  - a single compatible: with "snps,dwmac" also present, a failed amlogic probe is followed by a
	 *    second probe by dwmac-generic; stmmac_dvr_probe registers the same static PM notifier on
	 *    every probe (never unregistered on failure), the 2nd registration self-loops the chain and
	 *    every later register_pm_notifier() spins forever (PID 1 stuck at ~3.5 s, no userspace);
	 *  - "stmmaceth" clock name: the stmmac core takes its clock by that name to pick the MDC
	 *    divider; with only "ethclk81" it saw rate 0 -> divider 16 -> MDC ~10 MHz -> the RTL8211F
	 *    never answered ("No PHY found"). */
	/* both compatibles are needed: stmmac_platform sets has_gmac only for "snps,dwmac" (without it the
	 * core is driven as DWMAC100 - wrong register map, MDIO dead). The 2nd-probe hang must be fixed in
	 * the kernel (stmmac TX_MONITOR notifier) - until then a PHY-less boot hangs at ~3.5 s. */
	/* Kernel patch lineage/patches/kernel-stmmac-pm-notifier-double-register.patch makes the 2nd
	 * probe harmless, so both compatibles are back (galilei12, 2026-09-24). */
	compatible = "amlogic, g12a-eth-dwmac", "snps,dwmac";
	clocks = <&clkc CLKID_ETH_CORE>, <&clkc CLKID_ETH_CORE>;
	clock-names = "ethclk81", "stmmaceth";
	status = "okay";
	pinctrl-names = "external_eth_pins";
	pinctrl-0 = <&external_eth_pins>;
	mc_val = <0x1629>;
	cali_val = <0x60000>;
	rx_delay = <1>;
	auto_cali_idx = <0xff>;
	internal_phy = <0>;
	wol = <1>;
};

/* Bluetooth UART */
&uart_A {
	status = "okay";
};

&pcie_A {
	reset-gpio = <&gpio GPIOX_7 GPIO_ACTIVE_HIGH>;
	status = "disable";
};

&saradc {
	status = "okay";
};

/* CPU core supplies (VDD_CPU_A53 = vddcpu0 on PWM_AO_D/GPIOAO_10, VDD_CPU_A73 = vddcpu1 on PWM_A/GPIOE_2):
 * the stock Beelink DTB parameters. The mesong12b.dtsi defaults (1500 ns period, 680-1040 mV table,
 * period/table) do not match this board and the table does not contain the stock OPP voltages,
 * so pwm-regulator get_voltage() failed and meson-cpufreq hit BUG_ON (regulator/core.c:218) at 2 s. */
&vddcpu0 {
	/* pinctrl: keep the dtsi default pwm_ao_d_pins3 (PWM_AO_D on GPIOE_1) = what the stock DTB uses */
	pwms = <&pwm_AO_cd MESON_PWM_1 1250 0>;
	regulator-min-microvolt = <721000>;
	regulator-max-microvolt = <1022000>;
	max-duty-cycle = <1250>;
	voltage-table = <
			1022000 0 1011000 3 1001000 6 991000 10
			981000 13 971000 16 961000 20 951000 23
			941000 26 931000 30 921000 33 911000 36
			901000 40 891000 43 881000 46 871000 50
			861000 53 851000 56 841000 60 831000 63
			821000 67 811000 70 801000 73 791000 76
			781000 80 771000 83 761000 86 751000 90
			741000 93 731000 96 721000 100>;
};

&vddcpu1 {
	pinctrl-0 = <&pwm_a_e2>;
	pwms = <&pwm_ab MESON_PWM_0 1250 0>;
	regulator-min-microvolt = <721000>;
	regulator-max-microvolt = <1022000>;
	max-duty-cycle = <1250>;
	voltage-table = <
			1022000 0 1011000 3 1001000 6 991000 10
			981000 13 971000 16 961000 20 951000 23
			941000 26 931000 30 921000 33 911000 36
			901000 40 891000 43 881000 46 871000 50
			861000 53 851000 56 841000 60 831000 63
			821000 67 811000 70 801000 73 791000 76
			781000 80 771000 83 761000 86 751000 90
			741000 93 731000 96 721000 100>;
};

/* loopback DAI: referenced by auge_sound dai-link@6; the dtsi default is disabled -> the card never
 * finishes parsing (see tdmc above). Stock enables it. */
&loopback {
	status = "okay";
};

/* Thermal: cluster0 (A53) has 9 OPPs = cooling states 0..8, but mesong12b.dtsi maps the passive trip
 * to <&cpufreq_cool0 0 10>; thermal_zone_bind_cooling_device() rejects upper > max_state (-EINVAL,
 * "binding zone soc_thermal with cdev thermal-cpufreq-0 failed"), so the A53 cluster was never
 * throttled - stock has the same defect. Clamp to the real max state. */
&soc_thermal {
	cooling-maps {
		cpufreq_cooling_map0 {
			cooling-device = <&cpufreq_cool0 0 8>;
		};
	};
};
